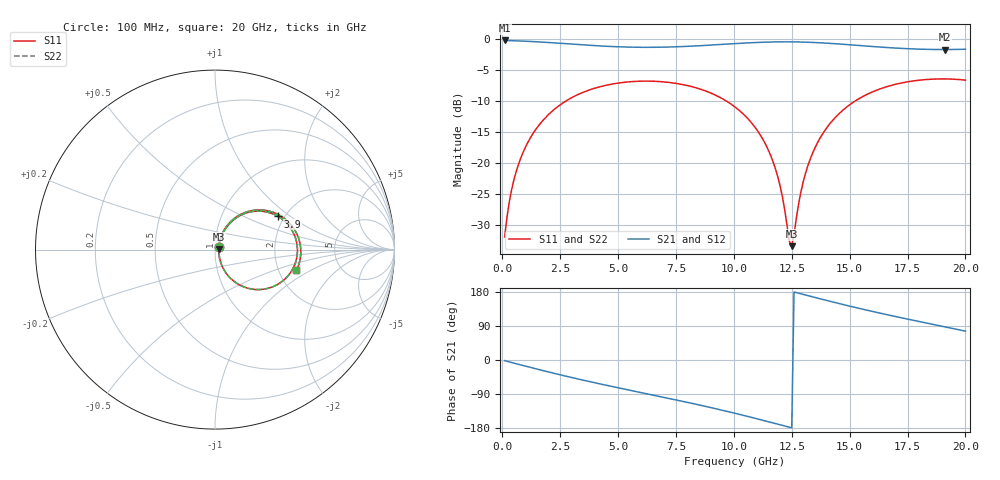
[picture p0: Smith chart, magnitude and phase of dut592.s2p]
! Touchstone file exported from HFSS 2026.1.0
!  File:  C:/ffzhzh/LocalFiles/Ansys_Project_Files/temp_train_TSV_RDL_592_1783120532_46604.aedt
!  Generated:  07:29:28 AM Jul  4, 2026
!  Design:  TSV_RDL
!  Project:  temp_train_TSV_RDL_592_1783120532_46604
! Variables:
!  h_bsmrdl = 3um
!  h_ox = 20um
!  h_rdl = 5um
!  h_sub = 84.47um
!  h_tmrdl = 4.23um
!  h_tsv = 84.47um
!  h_via = 3um
!  l_bsmrdl = 954.29um
!  l_sub = 4625.48um
!  l_tmrdl = 305.47um
!  m_sub = 200um
!  pitch = 48.7um
!  r_tsv = 14.84um
!  s_tmrdl = 10um
!  w_bsmrdl = 21.75um
!  w_sub = 500um
!  w_tmrdl = 25.16um
!  x_tsv_center1 = 318.05um
!  x_tsv_center2 = 1294.09um
!  x_tsv_center3 = 1624.72um
!  x_tsv_center4 = 2600.76um
!  x_tsv_center5 = 2931.39um
!  x_tsv_center6 = 3907.43um
# GHz S MA R 50.000000
! Terminal data exported
! Port[1] = TM_RDL1_1_T1
! Port[2] = TM_RDL5_1_T1
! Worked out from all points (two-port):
!   200 points, 100 MHz to 20 GHz, reference 50 ohm
!   highest |S21| = -0.18 dB at 100 MHz (marker M1); lowest = -1.7 dB at 19.1 GHz (marker M2)
!   |S21| within 3 dB of the highest: start of sweep to end of sweep
!   lowest |S11| = -33.5 dB at 12.5 GHz (marker M3), VSWR 1.04, Z = 52.1 + j0.287 ohm
!   |S11| at or under -10 dB: start of sweep to 2.74 GHz; 9.684 GHz to 15.23 GHz (5.547 GHz wide, 44.5 % of centre)
!   |S22| runs from -33.4 to -6.4 dB; largest |S21 - S12| = 2.3e-14
!   S11 on the Smith chart (normalised r, x): 100 MHz: 1.04, +0.03; 3.9 GHz: 1.85, +0.81; 20 GHz: 2.50, -0.74
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0.1  0.02516 34.4  0.9796 -1.7  0.9796 -1.7  0.02516 34.4
! Gamma 0 0 0 0
! Port Impedance 50 0 50 0
0.3  0.04813 57.4  0.9768 -5.0  0.9768 -5.0  0.04813 57.4
0.5  0.07279 62.7  0.9739 -8.3  0.9739 -8.3  0.07279 62.7
1.1  0.1461 62.2  0.964 -17.8  0.964 -17.8  0.1461 62.2
2.1  0.2569 51.0  0.9402 -33.2  0.9402 -33.2  0.2569 51.0
3.5  0.3732 32.9  0.9014 -53.3  0.9014 -53.3  0.3732 32.9
3.9  0.3972 27.7  0.8914 -58.8  0.8914 -58.8  0.3972 27.7
5.4  0.4519 9.0  0.866 -78.4  0.866 -78.4  0.4518 9.0
6.8  0.4554 -8.1  0.8635 -96.3  0.8635 -96.3  0.4554 -8.1
8.6  0.3929 -30.6  0.8896 -120.0  0.8896 -120.0  0.3929 -30.5
10.1  0.279 -50.1  0.9252 -141.4  0.9252 -141.4  0.279 -50.1
11  0.1847 -61.3  0.9438 -155.1  0.9438 -155.1  0.1847 -61.2
11.6  0.1137 -66.4  0.9518 -164.5  0.9518 -164.5  0.1137 -66.2
12  0.06483 -64.4  0.9545 -170.9  0.9545 -170.9  0.06491 -64.1
12.4  0.02315 -24.6  0.9547 -177.4  0.9547 -177.4  0.02342 -24.2
12.5  0.0212 7.5  0.9544 -179.0  0.9544 -179.0  0.0215 7.4
12.9  0.05869 61.8  0.9514 174.6  0.9514 174.6  0.05881 61.5
13.4  0.1199 64.9  0.9444 166.7  0.9444 166.7  0.12 64.7
14.7  0.2663 51.0  0.913 146.6  0.913 146.6  0.2663 50.9
16.7  0.419 25.4  0.8565 118.4  0.8565 118.4  0.419 25.4
19.1  0.4784 -3.6  0.8269 87.6  0.8269 87.6  0.4784 -3.6
20  0.4677 -14.3  0.8319 76.2  0.8319 76.2  0.4677 -14.3
